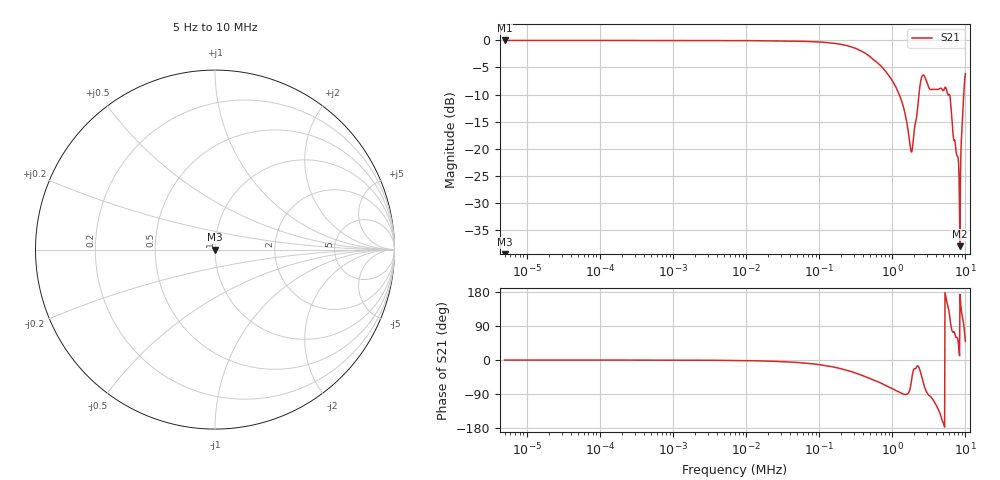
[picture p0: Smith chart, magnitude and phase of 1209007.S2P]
!Agilent Technologies,E5061B,MY49204007,A.02.12
!Date: Fri Sep 12 10:34:30 2025
!Data & Calibration Information:
!Freq	S11:SOLT2(OFF)	S21:SOLT2(OFF)	S12:SOLT2(OFF)	S22:SOLT2(OFF)
# Hz S dB R 50
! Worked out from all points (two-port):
!   1041 points, 5 Hz to 10 MHz, reference 50 ohm
!   highest |S21| = -0.04 dB at 5 Hz (marker M1); lowest = -37.9 dB at 8.438 MHz (marker M2)
!   |S21| within 3 dB of the highest: start of sweep to 497 kHz
!   lowest |S11| = - dB at 5 Hz (marker M3), VSWR 1.00, Z = 50 + j0 ohm
!   |S11| at or under -10 dB: start of sweep to end of sweep
!   S12 and S22 are empty: the file has one direction only
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5  -200.00 0.0  -0.04 -0.2  -200.00 0.0  -200.00 0.0
56.522  -200.00 0.0  -0.04 -0.2  -200.00 0.0  -200.00 0.0
632.897  -200.00 0.0  -0.04 -0.3  -200.00 0.0  -200.00 0.0
7154.49  -200.00 0.0  -0.06 -1.2  -200.00 0.0  -200.00 0.0
80111.67  -200.00 0.0  -0.25 -9.9  -200.00 0.0  -200.00 0.0
254626.5  -200.00 0.0  -1.09 -28.6  -200.00 0.0  -200.00 0.0
470098.2  -200.00 0.0  -2.77 -47.4  -200.00 0.0  -200.00 0.0
893075.1  -200.00 0.0  -6.45 -71.1  -200.00 0.0  -200.00 0.0
1351889  -200.00 0.0  -11.33 -88.4  -200.00 0.0  -200.00 0.0
1815704  -200.00 0.0  -20.54 -59.5  -200.00 0.0  -200.00 0.0
2240026  -200.00 0.0  -11.88 -15.5  -200.00 0.0  -200.00 0.0
2601092  -200.00 0.0  -6.46 -53.1  -200.00 0.0  -200.00 0.0
3044228  -200.00 0.0  -8.14 -89.0  -200.00 0.0  -200.00 0.0
4188833  -200.00 0.0  -9.06 -127.3  -200.00 0.0  -200.00 0.0
5599234  -200.00 0.0  -9.46 151.3  -200.00 0.0  -200.00 0.0
6035018  -200.00 0.0  -9.96 122.6  -200.00 0.0  -200.00 0.0
6732274  -200.00 0.0  -16.80 73.5  -200.00 0.0  -200.00 0.0
7957789  -200.00 0.0  -21.67 48.9  -200.00 0.0  -200.00 0.0
8438310  -200.00 0.0  -37.94 173.3  -200.00 0.0  -200.00 0.0
8918830  -200.00 0.0  -16.83 122.1  -200.00 0.0  -200.00 0.0
9159090  -200.00 0.0  -14.14 110.7  -200.00 0.0  -200.00 0.0
1e7  -200.00 0.0  -6.14 49.1  -200.00 0.0  -200.00 0.0
